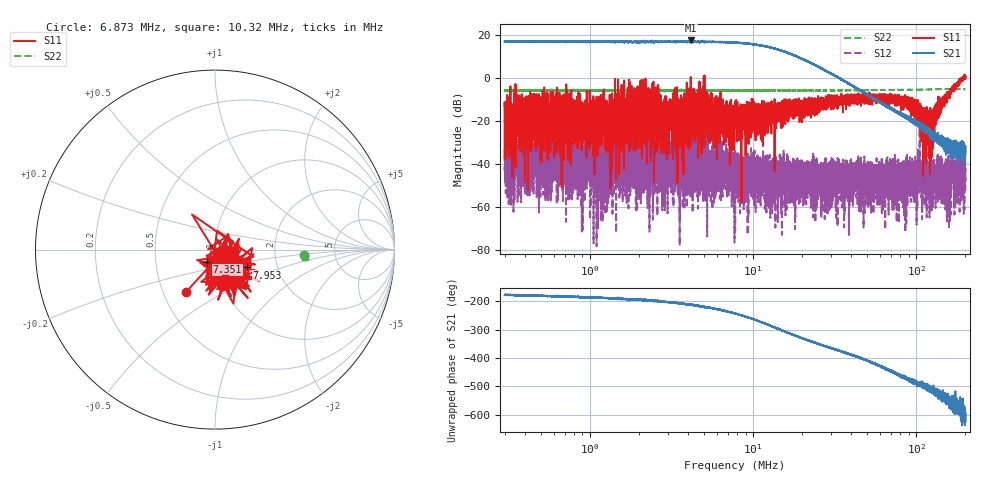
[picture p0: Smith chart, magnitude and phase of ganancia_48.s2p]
# Hz S DB R 50
! CMT, M5065, 19127446, 24.2.4/2
! Date: 11/1/2024 3:41:37 PM
! Data: Format (Calibration Info)
! Freq	S11:dB/Ang(F2)	S21:dB/Ang(F2)	S12:dB/Ang(F2)	S22:dB/Ang(F2)
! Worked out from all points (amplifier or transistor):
!   9000 points, 300 kHz to 200 MHz, reference 50 ohm
!   highest |S21| = 17.3 dB at 4.148 MHz (marker M1)
!   |S21| within 3 dB of that: start of sweep to 12.25 MHz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
!   unconditionally stable (mu >= 1): 691.7 kHz to 1.599 MHz; 2.683 MHz to 3.914 MHz; 5.04 MHz to 192.2 MHz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
!   at 886.8 kHz: K = 11.74, MAG = 18.1 dB, |S12| = -46.9 dB
!   at 7.749 MHz: K = 7.27, MAG = 17.6 dB, |S12| = -42.1 dB
!   at 200 MHz: K = 476.15, MAG = -21.6 dB, |S12| = -52.5 dB
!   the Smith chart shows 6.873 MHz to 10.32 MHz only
!   S11 on the Smith chart (normalised r, x): 6.873 MHz: 0.65, -0.34; 7.351 MHz: 0.91, -0.13; 7.953 MHz: 1.39, -0.29; 10.32 MHz: 1.06, -0.35
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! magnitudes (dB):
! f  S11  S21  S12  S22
! 300 kHz  -13.3  16.9  -41.6  -5.9
! 318.3 kHz  -15.0  16.7  -32.7  -5.8
! 425.9 kHz  -17.0  16.8  -34.5  -5.9
! 467.2 kHz  -19.4  16.7  -35.1  -6.1
! 886.8 kHz  -14.9  16.7  -46.9  -6.1
! 1.303 MHz  -25.7  16.7  -37.4  -6.2
! 1.703 MHz  -26.9  16.7  -35.0  -6.1
! 2.621 MHz  -17.2  16.5  -47.0  -6.0
! 4.148 MHz  0.3  17.3  -40.6  -6.0
! 6.873 MHz  -10.9  16.6  -45.0  -6.0
! 7.351 MHz  -21.7  16.4  -36.6  -6.0
! 7.749 MHz  -17.9  16.3  -42.1  -6.0
! 7.953 MHz  -13.9  16.2  -40.9  -5.9
! 10.32 MHz  -15.5  15.4  -54.4  -5.9
! 22.91 MHz  -9.4  6.7  -38.4  -5.9
! 67.71 MHz  -10.6  -13.5  -45.9  -5.7
! 96.68 MHz  -13.2  -20.1  -51.0  -5.6
! 104.9 MHz  -12.0  -22.7  -23.7  -5.6
! 121.6 MHz  -24.5  -25.2  -43.0  -5.5
! 147.5 MHz  -9.5  -31.1  -55.1  -5.3
! 193.5 MHz  -0.2  -32.9  -47.6  -5.4
! 200 MHz  -0.2  -36.2  -52.5  -5.4
